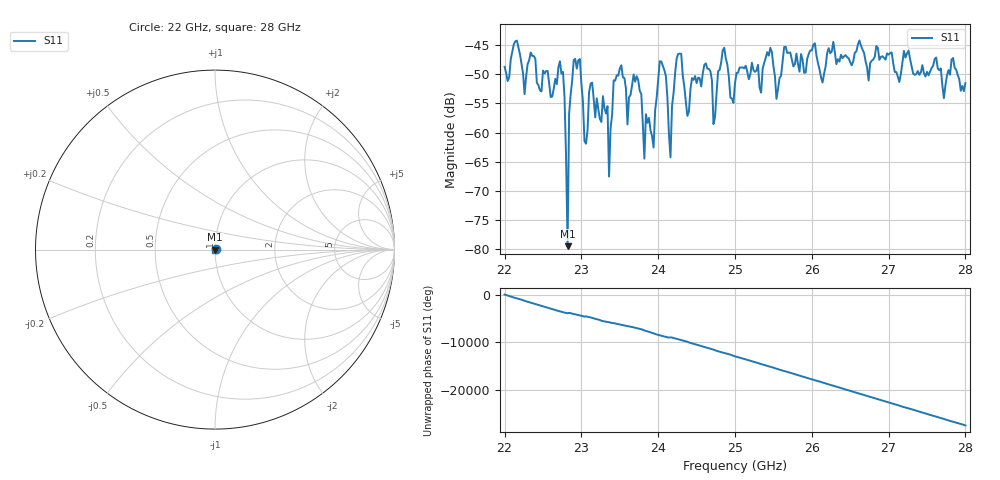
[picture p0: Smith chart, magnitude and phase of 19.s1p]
#  HZ  S  RI  R  50.00
! Rohde & Schwarz ZVA40 4Ports - Version 3.90 - 1145.1110k42 SN: 100403
! Date: 2023-10-04 06:00:13
! Measurement: S12
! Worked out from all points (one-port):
!   301 points, 22 GHz to 28 GHz, reference 50 ohm
!   lowest |S11| = -79.5 dB at 22.82 GHz (marker M1), VSWR 1.00, Z = 50 + j0.00945 ohm
!   |S11| at or under -10 dB: start of sweep to end of sweep
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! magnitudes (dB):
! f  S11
! 22 GHz  -48.7
! 22.76 GHz  -49.6
! 22.82 GHz  -79.5
! 22.84 GHz  -56.7
! 22.9 GHz  -47.6
! 22.98 GHz  -47.4
! 23.06 GHz  -61.9
! 23.12 GHz  -51.6
! 23.34 GHz  -55.5
! 23.36 GHz  -67.5
! 23.42 GHz  -51.0
! 23.5 GHz  -49.0
! 23.6 GHz  -58.6
! 23.74 GHz  -51.0
! 23.82 GHz  -64.5
! 23.94 GHz  -62.6
! 24.04 GHz  -47.8
! 24.16 GHz  -64.2
! 24.26 GHz  -46.5
! 24.38 GHz  -57.1
! 24.62 GHz  -48.1
! 24.72 GHz  -58.5
! 24.86 GHz  -45.4
! 25 GHz  -51.5
! 25.76 GHz  -48.6
! 26.5 GHz  -47.9
! 27.26 GHz  -45.9
! 28 GHz  -51.5
